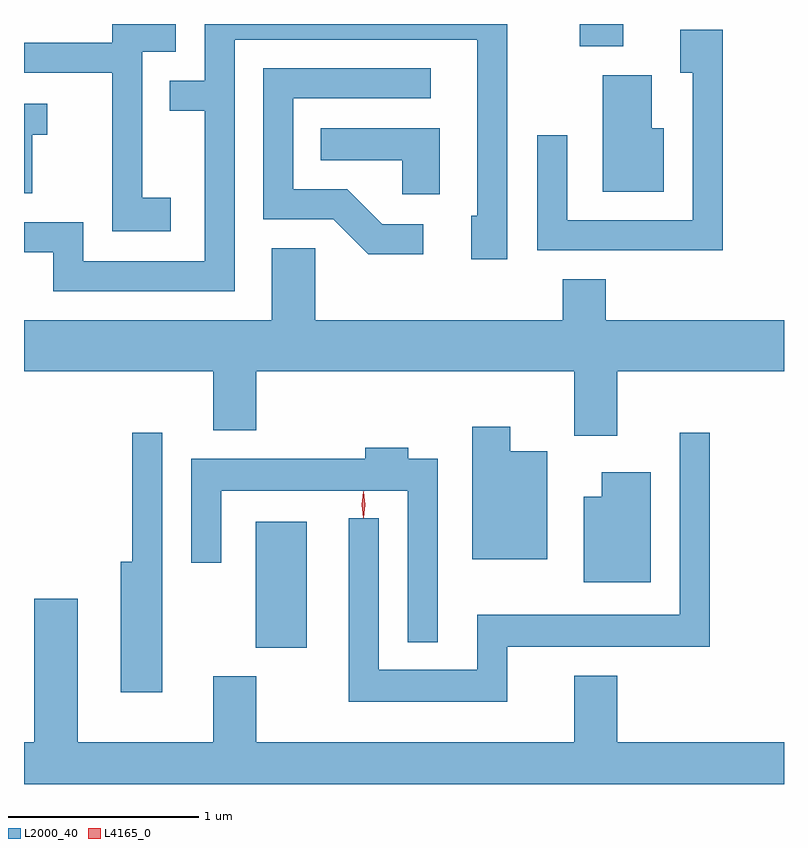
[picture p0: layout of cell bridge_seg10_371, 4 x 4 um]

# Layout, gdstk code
import gdstk
lib = gdstk.Library(unit=1e-6, precision=1e-09)
def R(c, l, rs):  # rectangles x0, y0, x1, y1
    for r in rs: c.add(gdstk.rectangle(r[:2], r[2:], *l))
def P(c, l, *ps):  # polygons
    for p in ps: c.add(gdstk.Polygon(p, *l))
L2000_40 = (2000, 40)
L4165_0 = (4165, 0)

bridge_seg10_371 = lib.new_cell('bridge_seg10_371')
R(bridge_seg10_371, L2000_40, [(1420.726,2105.801,1420.994,2106.464), (1422.431,2108.966,1422.659,2109.083)])
P(bridge_seg10_371, L2000_40, [(1420.279,2108.169),(1420.129,2108.169),(1420.129,2108.936),(1420.304,2108.936),(1420.304,2109.083),(1419.971,2109.083),(1419.971,2108.984),(1419.506,2108.984),(1419.506,2108.826),(1419.971,2108.826),(1419.971,2107.991),(1420.279,2107.991)],
  [(1420.614,2109.001),(1421.891,2109.001),(1421.891,2108.074),(1421.861,2108.074),(1421.861,2107.846),(1422.049,2107.846),(1422.049,2109.083),(1420.456,2109.083),(1420.456,2108.784),(1420.273,2108.784),(1420.273,2108.626),(1420.456,2108.626),(1420.456,2107.834),(1419.819,2107.834),(1419.819,2108.039),(1419.506,2108.039),(1419.506,2107.881),(1419.661,2107.881),(1419.661,2107.676),(1420.614,2107.676)],
  [(1423.184,2109.054),(1422.961,2109.054),(1422.961,2108.826),(1423.026,2108.826),(1423.026,2108.049),(1422.364,2108.049),(1422.364,2108.498),(1422.206,2108.498),(1422.206,2107.891),(1423.184,2107.891)],
  [(1421.608,2108.029),(1421.392,2108.029),(1421.207,2108.214),(1420.924,2108.214),(1420.924,2108.691),(1421.648,2108.691),(1421.648,2108.849),(1420.766,2108.849),(1420.766,2108.056),(1421.134,2108.056),(1421.319,2107.871),(1421.608,2107.871)],
  [(1422.874,2108.534),(1422.809,2108.534),(1422.809,2108.814),(1422.551,2108.814),(1422.551,2108.201),(1422.874,2108.201)],
  [(1419.549,2108.501),(1419.628,2108.501),(1419.628,2108.664),(1419.506,2108.664),(1419.506,2108.191),(1419.549,2108.191)],
  [(1421.694,2108.534),(1421.068,2108.534),(1421.068,2108.366),(1421.496,2108.366),(1421.496,2108.186),(1421.694,2108.186)],
  [(1422.629,2107.256),(1423.506,2107.256),(1423.506,2107.524),(1422.569,2107.524),(1422.569,2107.739),(1422.341,2107.739),(1422.341,2107.524),(1421.039,2107.524),(1421.039,2107.904),(1420.811,2107.904),(1420.811,2107.524),(1419.506,2107.524),(1419.506,2107.256),(1420.501,2107.256),(1420.501,2106.946),(1420.729,2106.946),(1420.729,2107.256),(1422.401,2107.256),(1422.401,2106.916),(1422.629,2106.916)],
  [(1422.259,2106.834),(1422.064,2106.834),(1422.064,2106.964),(1421.866,2106.964),(1421.866,2106.266),(1422.259,2106.266)],
  [(1420.234,2106.933),(1420.076,2106.933),(1420.076,2106.254),(1420.016,2106.254),(1420.016,2105.566),(1420.234,2105.566)],
  [(1422.049,2105.806),(1423.114,2105.806),(1423.114,2106.933),(1422.956,2106.933),(1422.956,2105.974),(1421.891,2105.974),(1421.891,2105.684),(1421.374,2105.684),(1421.374,2106.483),(1421.216,2106.483),(1421.216,2105.516),(1422.049,2105.516)],
  [(1421.684,2106.794),(1421.529,2106.794),(1421.529,2106.854),(1421.301,2106.854),(1421.301,2106.794),(1420.386,2106.794),(1420.386,2106.248),(1420.544,2106.248),(1420.544,2106.626),(1421.526,2106.626),(1421.526,2105.828),(1421.684,2105.828)],
  [(1422.804,2106.724),(1422.546,2106.724),(1422.546,2106.594),(1422.451,2106.594),(1422.451,2106.146),(1422.804,2106.146)],
  [(1423.506,2105.304),(1422.629,2105.304),(1422.629,2105.654),(1422.401,2105.654),(1422.401,2105.304),(1420.729,2105.304),(1420.729,2105.649),(1420.501,2105.649),(1420.501,2105.304),(1419.789,2105.304),(1419.789,2106.059),(1419.561,2106.059),(1419.561,2105.304),(1419.506,2105.304),(1419.506,2105.083),(1423.506,2105.083)])
P(bridge_seg10_371, L4165_0, [(1421.293,2106.483),(1421.292,2106.484),(1421.283,2106.553),(1421.292,2106.622),(1421.293,2106.623),(1421.293,2106.622),(1421.303,2106.553),(1421.293,2106.484)],
  [(1421.292,2106.487),(1421.283,2106.554),(1421.292,2106.62),(1421.293,2106.62),(1421.293,2106.62),(1421.303,2106.554),(1421.293,2106.487),(1421.293,2106.487)])

lib.write_gds('bridge_seg10_371.gds')
